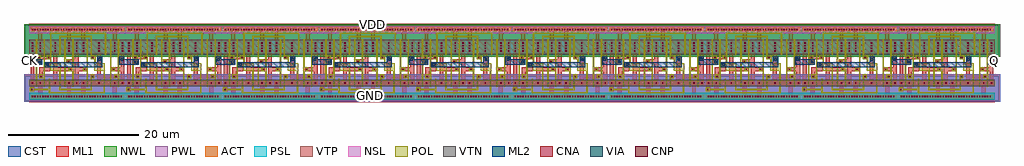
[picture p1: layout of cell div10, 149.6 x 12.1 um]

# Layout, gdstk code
import gdstk
lib = gdstk.Library(unit=1e-6, precision=1e-10)
def R(c, l, rs):  # rectangles x0, y0, x1, y1
    for r in rs: c.add(gdstk.rectangle(r[:2], r[2:], *l))
def A(c, l, x, y, w, h, nx, ny, dx, dy):  # array of equal rectangles
    R(c, l, [(x+i*dx, y+j*dy, x+i*dx+w, y+j*dy+h) for i in range(nx) for j in range(ny)])
NWL = (1, 0)
PWL = (2, 0)
CST = (3, 0)
ACT = (4, 0)
VTN = (5, 0)
VTP = (6, 0)
POL = (7, 0)
NSL = (8, 0)
PSL = (9, 0)
CNA = (10, 0)
CNP = (11, 0)
ML1 = (12, 0)
VIA = (13, 0)
ML2 = (14, 0)

dff = lib.new_cell('dff')
R(dff, NWL, [(-0.8,7,15.6,12)])
R(dff, PWL, [(-0.8,0.1,15.6,4.3)])
R(dff, CST, [(-0.6,0.3,15.4,4.1), (-0.6,7.2,15.4,11.8)])
R(dff, ACT, [(0.2,0.6,14.6,1.2), (0.2,2.7,7.6,3.3), (8,2.7,14.6,3.3), (0.2,7.6,7.6,9.4), (8,7.6,14.6,9.4), (0.2,10.9,14.6,11.5)])
R(dff, VTN, [(0,2.5,14.8,3.5)])
R(dff, VTP, [(0,7.4,14.8,9.6)])
R(dff, POL, [(3,1.4,3.2,1.9), (3.2,1.4,11.4,1.6), (11.4,1.4,11.6,2.5), (0.1,1.7,0.7,2.3), (0.2,1.9,3,2.1), (3,1.9,3.2,3.6), (4.6,1.9,4.8,4.9), (4.8,1.9,9.4,2.1), (9.4,1.9,9.6,2.5), (1,2.4,1.2,9.7), (2.2,2.4,2.4,9.7), (5.4,2.4,5.6,9.7), (6.6,2.4,6.8,9.7), (8.8,2.4,9,9.7), (12.4,2.4,12.6,9.7), (13.6,2.4,13.8,9.7), (9.4,2.5,9.6,3.7), (11.4,2.5,11.6,4.9), (1.5,3.7,2.1,4.3), (2.1,3.7,2.2,4.3), (9.4,3.7,10,4.3), (13,3.7,13.6,4.3), (6,4.8,6.6,5.4), (8.2,4.8,8.8,5.4), (12.6,4.8,13.2,5.4), (3.2,4.9,4.8,6), (10,4.9,11.6,6), (3.2,6,3.4,10.5), (5.5,6,5.7,6.6), (5.7,6,6.3,6.6), (10,6,10.2,7.2), (1.2,6.6,1.8,7.2), (2.7,6.6,3.3,7.2), (9.4,6.6,10,7.2), (9.4,7.2,9.6,9.6), (4.6,7.3,4.8,10.2), (11.6,7.3,11.8,10.7), (9.4,9.6,9.6,10.2), (4.8,10,9.4,10.2), (3.2,10.5,11.6,10.7)])
R(dff, NSL, [(0,2.5,14.8,3.5), (0,10.6,14.8,11.7)])
R(dff, PSL, [(0,0.4,14.8,1.5), (0,7.4,14.8,9.6)])
A(dff, CNA, 0.4, 0.8, 0.2, 0.2, 35, 2, 0.4, 10.3)
A(dff, CNA, 8.2, 2.9, 0.2, 0.2, 3, 2, 2.4, 4.9)
A(dff, CNA, 0.4, 7.8, 0.2, 0.2, 1, 4, 0, 0.4)
A(dff, CNA, 1.6, 7.8, 0.2, 0.2, 1, 4, 0, 0.4)
A(dff, CNA, 3.9, 7.8, 0.2, 0.2, 1, 4, 0, 0.4)
A(dff, CNA, 6, 7.8, 0.2, 0.2, 1, 4, 0, 0.4)
A(dff, CNA, 7.2, 7.8, 0.2, 0.2, 1, 4, 0, 0.4)
A(dff, CNA, 14.2, 7.8, 0.2, 0.2, 1, 4, 0, 0.4)
A(dff, CNA, 8.2, 8.2, 0.2, 0.2, 3, 3, 2.4, 0.4)
R(dff, CNA, [(0.4,2.9,0.6,3.1), (1.6,2.9,1.8,3.1), (3.9,2.9,4.1,3.1), (6,2.9,6.2,3.1), (7.2,2.9,7.4,3.1), (14.2,2.9,14.4,3.1)])
R(dff, CNP, [(0.3,1.9,0.5,2.1), (1.7,3.9,1.9,4.1), (9.6,3.9,9.8,4.1), (13.2,3.9,13.4,4.1), (6.2,5,6.4,5.2), (8.4,5,8.6,5.2), (12.8,5,13,5.2), (5.9,6.2,6.1,6.4), (1.4,6.8,1.6,7), (2.9,6.8,3.1,7), (9.6,6.8,9.8,7)])
R(dff, ML1, [(0,0,14.8,1.2), (5.8,0.6,6.4,3.3), (8,0.6,8.6,3.3), (12.8,0.6,13.4,3.3), (1.4,1.2,2,3.3), (0.1,1.7,0.7,2.3), (0.2,1.7,0.8,2.7), (0.2,2.7,0.8,3.3), (3.7,2.7,4.3,9.4), (7,2.7,7.6,9.4), (10.4,2.7,11,9.4), (14,2.7,14.6,9.4), (0.2,3.3,0.8,9.4), (1.5,3.7,2.1,4.3), (9.4,3.7,10,4.3), (11,3.7,13,4.3), (13,3.7,13.6,4.3), (1.5,4.3,2.1,4.8), (1.5,4.8,3.2,5.4), (4.2,4.8,6,5.4), (6,4.8,6.6,5.4), (7.6,4.8,8.2,5.4), (8.2,4.8,8.8,5.4), (12.6,4.8,13.2,5.4), (13.2,4.8,14,5.4), (2.4,5.4,3.2,6.2), (1.2,5.8,2,6.6), (5.7,6,6.3,6.6), (6.3,6,7,6.6), (10.4,6.2,11.2,7), (13.8,6.2,14.6,7), (1.2,6.6,1.8,7.2), (1.8,6.6,2.7,7.2), (2.7,6.6,3.3,7.2), (9.4,6.6,10,7.2), (1.4,7.6,2,11.5), (1.4,7.6,2,8.2), (5.8,7.6,6.4,11.5), (8,7.6,8.6,11.5), (12.8,7.6,13.4,11.5), (0,10.9,14.8,12.1)])
R(dff, VIA, [(2.6,5.6,3,6), (1.4,6,1.8,6.4), (10.6,6.4,11,6.8), (14,6.4,14.4,6.8)])
R(dff, ML2, [(2.4,5.4,3.2,6.2), (1.2,5.8,2,6.6), (10.4,6.2,11.2,7), (13.8,6.2,14.6,7)])
dff.add(gdstk.Label('Gnd', (0.3,0.1), layer=12, texttype=0))
dff.add(gdstk.Label('Vdd', (0.3,11.6), layer=12, texttype=0))
dff.add(gdstk.Label('QB', (10.5,5.8), layer=12, texttype=0))
dff.add(gdstk.Label('Q', (14.3,5.8), layer=12, texttype=0))
dff.add(gdstk.Label('CK', (1.3,5.9), layer=12, texttype=0))
dff.add(gdstk.Label('D', (2.5,5.5), layer=12, texttype=0))

div1 = lib.new_cell('div1')
R(div1, ML2, [(3.2,5.4,11.2,6.2), (0,5.8,1.2,6.6), (13.8,5.8,14.8,6.6)])
div1.add(gdstk.Reference(dff, (0,0)))
div1.add(gdstk.Label('GND', (5.3,0.5), layer=12, texttype=0))
div1.add(gdstk.Label('VDD', (5.6,12), layer=12, texttype=0))
div1.add(gdstk.Label('Q', (14.7,6.5), layer=14, texttype=0))
div1.add(gdstk.Label('CK', (0.1,6.5), layer=14, texttype=0))

div10 = lib.new_cell('div10')
r = gdstk.Reference(div1, (-2.9,5)); r.repetition = gdstk.Repetition(10, 1, v1=(14.8,0), v2=(0,0)); div10.add(r)
div10.add(gdstk.Label('VDD', (49.7,17), layer=12, texttype=0))
div10.add(gdstk.Label('GND', (49.4,6.1), layer=12, texttype=0))
div10.add(gdstk.Label('CK', (-2.8,11.5), layer=14, texttype=0))
div10.add(gdstk.Label('Q', (145,11.5), layer=14, texttype=0))

lib.write_gds('div10.gds')
